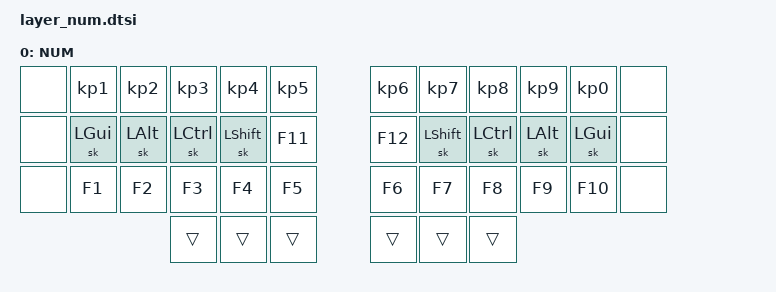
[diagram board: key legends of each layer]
/**
 * NUM Layer
 */

/ {
    keymap {
        compatible = "zmk,keymap";

        num_layer {
            display-name = "NUM";
            bindings = <
// ╭───────────────┬───────────────┬───────────────┬───────────────┬───────────────┬───────────────╮   ╭───────────────┬───────────────┬───────────────┬───────────────┬───────────────┬───────────────╮
// │0              │1              │2              │3              │4              │5              │   │6              │7              │8              │9              │10             │11             │
    &none           &kp KP_N1       &kp KP_N2       &kp KP_N3       &kp KP_N4       &kp KP_N5           &kp KP_N6       &kp KP_N7       &kp KP_N8       &kp KP_N9       &kp KP_N0       &none
// ├───────────────├───────────────┼───────────────┼───────────────┼───────────────┼───────────────┤   ├───────────────├───────────────┼───────────────┼───────────────┼───────────────┼───────────────┤
// │12             │13             │14             │15             │16             │17             │   │18             │19             │20             │21             │22             │23             │
    &none           &sk LGUI        &sk LALT        &sk LCTRL       &sk LSHFT       &kp F11             &kp F12         &sk LSHFT       &sk LCTRL       &sk LALT        &sk LGUI        &none
// ├───────────────├───────────────┼───────────────┼───────────────┼───────────────┼───────────────┤   ├───────────────├───────────────┼───────────────┼───────────────┼───────────────┼───────────────┤
// │24             │25             │26             │27             │28             │29             │   │30             │31             │32             │33             │34             │35             │
    &none           &kp F1          &kp F2          &kp F3          &kp F4          &kp F5              &kp F6          &kp F7          &kp F8          &kp F9          &kp F10         &none
// ╰───────────────┴───────────────┴───────────────┼───────────────┼───────────────┼───────────────┤   ├───────────────├───────────────┼───────────────┼───────────────┴───────────────┴───────────────╯
//                                                 │36             │37             │38             │   │39             │40             │41             │
                                                    &trans          &trans          &trans              &trans          &trans          &trans
//                                                 ╰───────────────┴───────────────┴───────────────╯   ╰───────────────┴───────────────┴───────────────╯
            >;
        };
    };
};
